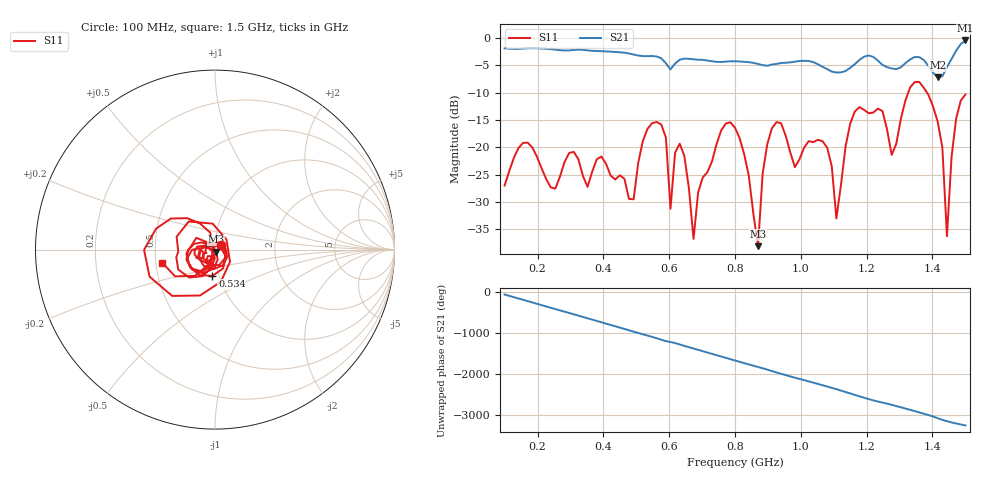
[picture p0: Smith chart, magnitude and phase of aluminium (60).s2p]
! NanoVNA-App
! Date: 2025-09-26 09:58:31
! Start: 100MHz Stop: 1,5GHz Points: 101
! S-Parameter data: F S11 S21 S12 S22
# Hz S RI R 50
!  Frequency  S11_Real  S11_Imag  S21_Real  S21_Imag  S12_Real  S12_Imag  S22_Real  S22_Imag
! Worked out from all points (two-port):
!   101 points, 100 MHz to 1.5 GHz, reference 50 ohm
!   highest |S21| = -0.48 dB at 1.5 GHz (marker M1); lowest = -7.2 dB at 1.416 GHz (marker M2)
!   |S21| within 3 dB of the highest: start of sweep to 565.1 MHz; 1.461 GHz to end of sweep (the widest 2 of 3)
!   lowest |S11| = -38.1 dB at 870 MHz (marker M3), VSWR 1.03, Z = 50.5 - j1.13 ohm
!   |S11| at or under -10 dB: start of sweep to 1.326 GHz; 1.383 GHz to end of sweep
!   S12 and S22 are empty: the file has one direction only
!   S11 on the Smith chart (normalised r, x): 100 MHz: 1.07, +0.06; 534 MHz: 0.93, -0.28; 1.5 GHz: 0.54, -0.09
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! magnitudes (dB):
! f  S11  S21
! 100 MHz  -27.0  -1.9
! 156 MHz  -19.2  -2.0
! 338 MHz  -25.2  -2.2
! 492 MHz  -29.5  -3.1
! 534 MHz  -16.6  -3.3
! 576 MHz  -15.8  -3.7
! 604 MHz  -31.2  -5.8
! 632 MHz  -19.3  -4.0
! 674 MHz  -36.7  -3.9
! 800 MHz  -16.4  -4.3
! 870 MHz  -38.1  -4.8
! 912 MHz  -16.5  -4.9
! 1.038 GHz  -19.1  -4.4
! 1.08 GHz  -20.1  -5.7
! 1.108 GHz  -33.0  -6.3
! 1.164 GHz  -13.5  -4.8
! 1.276 GHz  -21.4  -5.6
! 1.346 GHz  -8.1  -3.5
! 1.416 GHz  -15.4  -7.2
! 1.444 GHz  -36.2  -5.3
! 1.472 GHz  -14.7  -2.3
! 1.5 GHz  -10.4  -0.5
